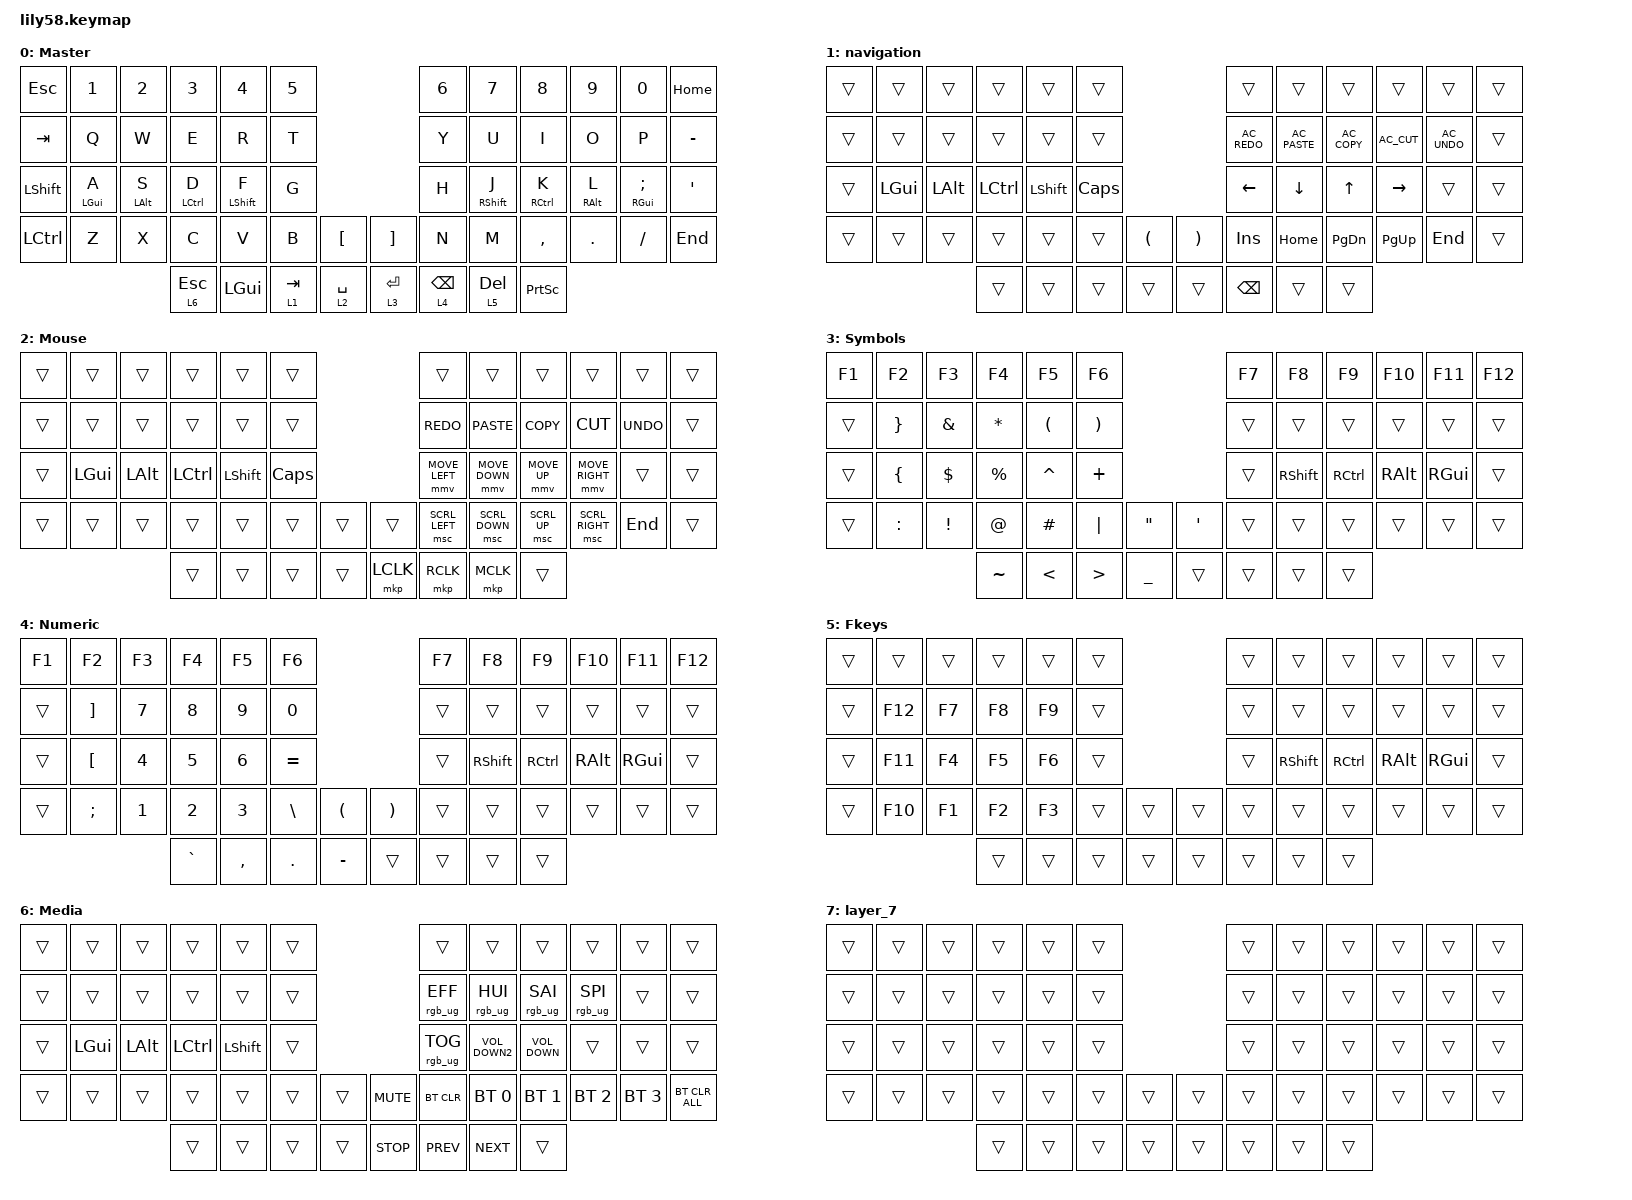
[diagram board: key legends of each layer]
/*
 * Copyright (c) 2020 The ZMK Contributors
 *
 * SPDX-License-Identifier: MIT
 */

#include <behaviors.dtsi>
#include <dt-bindings/zmk/bt.h>
#include <dt-bindings/zmk/keys.h>
#include <dt-bindings/zmk/pointing.h>
#include <dt-bindings/zmk/rgb.h>

/ {
    // Activate ADJUST layer by pressing raise and lower

    conditional_layers { compatible = "zmk,conditional-layers"; };

    behaviors {
        HTL: HTL {
            compatible = "zmk,behavior-hold-tap";
            label = "HTL";
            bindings = <&kp>, <&kp>;

            #binding-cells = <2>;
            tapping-term-ms = <280>;
            flavor = "balanced";
            hold-trigger-on-release;
            hold-trigger-key-positions = <6 7 8 9 10 11 18 19 20 21 22 23 30 31 32 33 34 35 43 44 45 46 47 48 49 54 55 56 57>;
            require-prior-idle-ms = <150>;
            quick-tap-ms = <175>;
        };

        HTR: HTR {
            compatible = "zmk,behavior-hold-tap";
            label = "HTR";
            bindings = <&kp>, <&kp>;

            #binding-cells = <2>;
            tapping-term-ms = <280>;
            flavor = "balanced";
            hold-trigger-on-release;
            hold-trigger-key-positions = <0 1 2 3 4 5 12 13 14 15 16 17 24 25 26 27 28 29 36 37 38 39 40 41 42 50 51 52 53>;
            quick-tap-ms = <175>;
            require-prior-idle-ms = <150>;
        };

        mouse_mov_v: mouse_mov_v {
            compatible = "zmk,behavior-sensor-rotate";
            label = "MOUSE_MOV_V";
            #sensor-binding-cells = <0>;
            bindings = <&mmv MOVE_UP>, <&mmv MOVE_DOWN>;
        };

        mouse_mov_h: mouse_mov_h {
            compatible = "zmk,behavior-sensor-rotate";
            label = "MOUSE_MOV_H";
            #sensor-binding-cells = <0>;
            bindings = <&mmv MOVE_RIGHT>, <&mmv MOVE_LEFT>;
        };

        mouse_scroll_v: mouse_scroll_v {
            compatible = "zmk,behavior-sensor-rotate";
            label = "MOUSE_SCROLL_V";
            #sensor-binding-cells = <0>;
            bindings = <&msc SCRL_UP>, <&msc SCRL_DOWN>;
        };

        mouse_scroll_h: mouse_scroll_h {
            compatible = "zmk,behavior-sensor-rotate";
            label = "MOUSE_SCROLL_H";
            #sensor-binding-cells = <0>;
            bindings = <&msc SCRL_RIGHT>, <&msc SCRL_RIGHT>;
        };

        sensor_transp: sensor_transp {
            compatible = "zmk,behavior-sensor-rotate-var";
            label = "SENSOR_TRANSP";
            #sensor-binding-cells = <2>;
            bindings = <&trans>, <&trans>;
        };
    };

    keymap {
        compatible = "zmk,keymap";

        Master {
            // ------------------------------------------------------------------------------------------------------------
            // |  ESC  |  1  |  2  |  3   |  4   |  5   |                   |  6   |  7    |  8    |  9   |   0   |   `   |
            // |  TAB  |  Q  |  W  |  E   |  R   |  T   |                   |  Y   |  U    |  I    |  O   |   P   |   -   |
            // |  CTRL |  A  |  S  |  D   |  F   |  G   |                   |  H   |  J    |  K    |  L   |   ;   |   '   |
            // | SHIFT |  Z  |  X  |  C   |  V   |  B   |  MUTE  |  |RGB_TOG|  N   |  M    |  ,    |  .   |   /   | SHIFT |
            //                     | ALT  | GUI  | LOWER|  SPACE |  | ENTER | RAISE| BSPC  | GUI   |

            bindings = <
&kp ESC         &kp N1           &kp N2           &kp N3        &kp N4             &kp N5                                            &kp N6           &kp N7              &kp N8           &kp N9            &kp N0               &kp HOME
&kp TAB         &kp Q            &kp W            &kp E         &kp R              &kp T                                             &kp Y            &kp U               &kp I            &kp O             &kp P                &kp MINUS
&kp LEFT_SHIFT  &HTL LEFT_GUI A  &HTL LEFT_ALT S  &HTL LCTRL D  &HTL LEFT_SHIFT F  &kp G                                             &kp H            &HTR RIGHT_SHIFT J  &HTR RCTRL K     &HTR RIGHT_ALT L  &HTR RIGHT_GUI SEMI  &kp SQT
&kp LCTRL       &kp Z            &kp X            &kp C         &kp V              &kp B      &kp LEFT_BRACKET    &kp RIGHT_BRACKET  &kp N            &kp M               &kp COMMA        &kp DOT           &kp FSLH             &kp END
                                                  &lt 6 ESCAPE  &kp LGUI           &lt 1 TAB  &lt 2 SPACE         &lt 3 ENTER        &lt 4 BACKSPACE  &lt 5 DEL           &kp PRINTSCREEN
            >;
        };

        NAV {
            bindings = <
&trans  &trans    &trans    &trans            &trans          &trans                                                       &trans         &trans          &trans         &trans        &trans         &trans
&trans  &trans    &trans    &trans            &trans          &trans                                                       &kp C_AC_REDO  &kp C_AC_PASTE  &kp C_AC_COPY  &kp C_AC_CUT  &kp C_AC_UNDO  &trans
&trans  &kp LGUI  &kp LALT  &kp LEFT_CONTROL  &kp LEFT_SHIFT  &kp CAPSLOCK                                                 &kp LEFT       &kp DOWN        &kp UP         &kp RIGHT     &trans         &trans
&trans  &trans    &trans    &trans            &trans          &trans        &kp LEFT_PARENTHESIS    &kp RIGHT_PARENTHESIS  &kp INSERT     &kp HOME        &kp PAGE_DOWN  &kp PAGE_UP   &kp END        &trans
                            &trans            &trans          &trans        &trans                  &trans                 &kp BACKSPACE  &trans          &trans
            >;

            label = "navigation";
        };

        MOUSE {
            bindings = <
&trans  &trans    &trans    &trans            &trans          &trans                             &trans          &trans          &trans        &trans           &trans      &trans
&trans  &trans    &trans    &trans            &trans          &trans                             &kp K_REDO      &kp K_PASTE     &kp K_COPY    &kp K_CUT        &kp K_UNDO  &trans
&trans  &kp LGUI  &kp LALT  &kp LEFT_CONTROL  &kp LEFT_SHIFT  &kp CAPSLOCK                       &mmv MOVE_LEFT  &mmv MOVE_DOWN  &mmv MOVE_UP  &mmv MOVE_RIGHT  &trans      &trans
&trans  &trans    &trans    &trans            &trans          &trans        &trans    &trans     &msc SCRL_LEFT  &msc SCRL_DOWN  &msc SCRL_UP  &msc SCRL_RIGHT  &kp END     &trans
                            &trans            &trans          &trans        &trans    &mkp LCLK  &mkp RCLK       &mkp MCLK       &trans
            >;

            label = "Mouse";
        };

        SYM {
            bindings = <
&kp F1  &kp F2           &kp F3         &kp F4        &kp F5                &kp F6                                                        &kp F7  &kp F8     &kp F9     &kp F10   &kp F11   &kp F12
&trans  &kp RIGHT_BRACE  &kp AMPERSAND  &kp ASTERISK  &kp LEFT_PARENTHESIS  &kp RIGHT_PARENTHESIS                                         &trans  &trans     &trans     &trans    &trans    &trans
&trans  &kp LEFT_BRACE   &kp DOLLAR     &kp PERCENT   &kp CARET             &kp PLUS                                                      &trans  &kp RSHFT  &kp RCTRL  &kp RALT  &kp RGUI  &trans
&trans  &kp COLON        &kp EXCL       &kp AT        &kp HASH              &kp PIPE               &kp DOUBLE_QUOTES    &kp SINGLE_QUOTE  &trans  &trans     &trans     &trans    &trans    &trans
                                        &kp TILDE     &kp LESS_THAN         &kp GREATER_THAN       &kp UNDER            &trans            &trans  &trans     &trans
            >;

            label = "Symbols";
        };

        NUM {
            bindings = <
&kp F1  &kp F2    &kp F3  &kp F4     &kp F5     &kp F6                                                        &kp F7  &kp F8     &kp F9     &kp F10   &kp F11   &kp F12
&trans  &kp RBKT  &kp N7  &kp N8     &kp N9     &kp N0                                                        &trans  &trans     &trans     &trans    &trans    &trans
&trans  &kp LBKT  &kp N4  &kp N5     &kp N6     &kp EQUAL                                                     &trans  &kp RSHFT  &kp RCTRL  &kp RALT  &kp RGUI  &trans
&trans  &kp SEMI  &kp N1  &kp N2     &kp N3     &kp BACKSLASH  &kp LEFT_PARENTHESIS    &kp RIGHT_PARENTHESIS  &trans  &trans     &trans     &trans    &trans    &trans
                          &kp GRAVE  &kp COMMA  &kp DOT        &kp MINUS               &trans                 &trans  &trans     &trans
            >;

            label = "Numeric";
        };

        FUNCS {
            bindings = <
&trans  &trans   &trans  &trans  &trans  &trans                    &trans  &trans     &trans     &trans    &trans    &trans
&trans  &kp F12  &kp F7  &kp F8  &kp F9  &trans                    &trans  &trans     &trans     &trans    &trans    &trans
&trans  &kp F11  &kp F4  &kp F5  &kp F6  &trans                    &trans  &kp RSHFT  &kp RCTRL  &kp RALT  &kp RGUI  &trans
&trans  &kp F10  &kp F1  &kp F2  &kp F3  &trans  &trans    &trans  &trans  &trans     &trans     &trans    &trans    &trans
                         &trans  &trans  &trans  &trans    &trans  &trans  &trans     &trans
            >;

            label = "Fkeys";
        };

        MEDIA {
            bindings = <
&trans  &trans    &trans    &trans     &trans     &trans                        &trans           &trans              &trans             &trans           &trans        &trans
&trans  &trans    &trans    &trans     &trans     &trans                        &rgb_ug RGB_EFF  &rgb_ug RGB_HUI     &rgb_ug RGB_SAI    &rgb_ug RGB_SPI  &trans        &trans
&trans  &kp LGUI  &kp LALT  &kp LCTRL  &kp LSHFT  &trans                        &rgb_ug RGB_TOG  &kp K_VOLUME_DOWN2  &kp K_VOLUME_DOWN  &trans           &trans        &trans
&trans  &trans    &trans    &trans     &trans     &trans  &trans    &kp K_MUTE  &bt BT_CLR       &bt BT_SEL 0        &bt BT_SEL 1       &bt BT_SEL 2     &bt BT_SEL 3  &bt BT_CLR_ALL
                            &trans     &trans     &trans  &trans    &kp C_STOP  &kp K_PREV       &kp K_NEXT          &trans
            >;

            label = "Media";
        };

        layer_7 {
            bindings = <
&trans  &trans  &trans  &trans  &trans  &trans                    &trans  &trans  &trans  &trans  &trans  &trans
&trans  &trans  &trans  &trans  &trans  &trans                    &trans  &trans  &trans  &trans  &trans  &trans
&trans  &trans  &trans  &trans  &trans  &trans                    &trans  &trans  &trans  &trans  &trans  &trans
&trans  &trans  &trans  &trans  &trans  &trans  &trans    &trans  &trans  &trans  &trans  &trans  &trans  &trans
                        &trans  &trans  &trans  &trans    &trans  &trans  &trans  &trans
            >;
        };
    };
};
